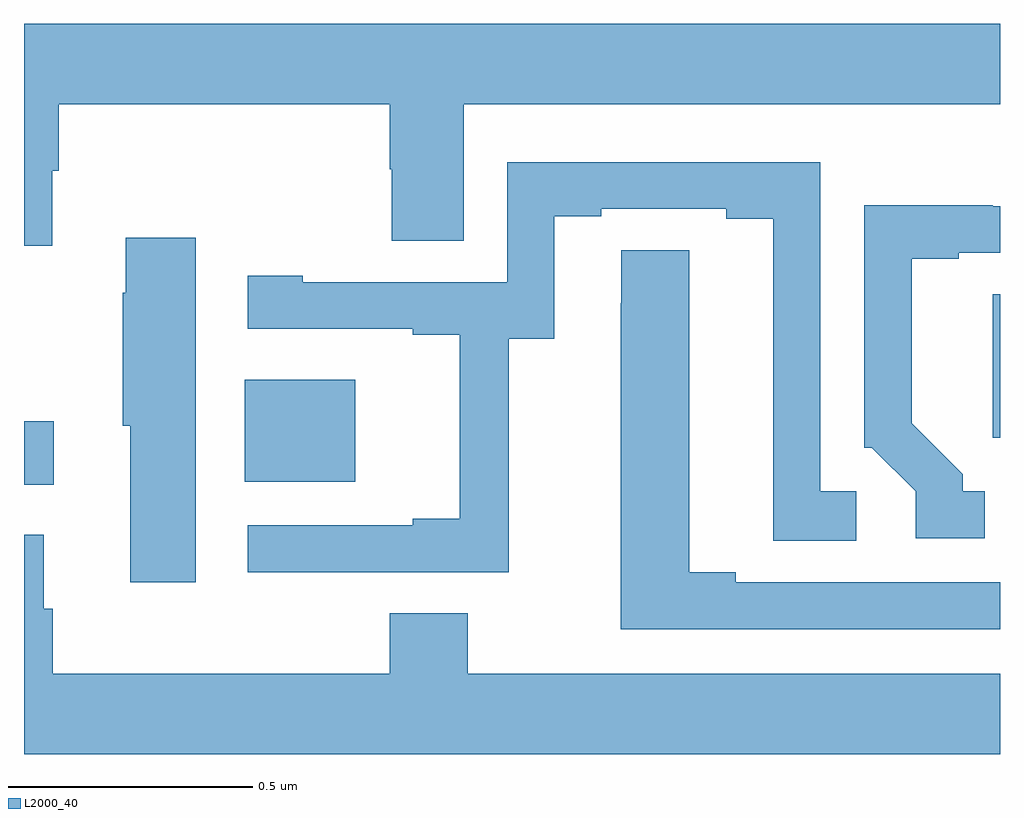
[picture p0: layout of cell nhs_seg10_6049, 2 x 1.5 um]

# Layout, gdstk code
import gdstk
lib = gdstk.Library(unit=1e-6, precision=1e-09)
def R(c, l, rs):  # rectangles x0, y0, x1, y1
    for r in rs: c.add(gdstk.rectangle(r[:2], r[2:], *l))
def P(c, l, *ps):  # polygons
    for p in ps: c.add(gdstk.Polygon(p, *l))
L2000_40 = (2000, 40)

nhs_seg10_6049 = lib.new_cell('nhs_seg10_6049')
R(nhs_seg10_6049, L2000_40, [(186,1307.528,186.061,1307.658), (186.452,1307.534,186.679,1307.743), (187.985,1307.624,188,1307.918)])
P(nhs_seg10_6049, L2000_40, [(186.058,1308.171),(186.071,1308.171),(186.071,1308.308),(186.749,1308.308),(186.749,1308.174),(186.754,1308.174),(186.754,1308.028),(186.901,1308.028),(186.901,1308.308),(188,1308.308),(188,1308.472),(186,1308.472),(186,1308.018),(186.058,1308.018)],
  [(186.993,1307.827),(187.087,1307.827),(187.087,1308.078),(187.183,1308.078),(187.183,1308.093),(187.439,1308.093),(187.439,1308.073),(187.535,1308.073),(187.535,1307.413),(187.705,1307.413),(187.705,1307.514),(187.632,1307.514),(187.632,1308.189),(186.99,1308.189),(186.99,1307.943),(186.571,1307.943),(186.571,1307.956),(186.459,1307.956),(186.459,1307.847),(186.797,1307.847),(186.797,1307.835),(186.893,1307.835),(186.893,1307.458),(186.797,1307.458),(186.797,1307.445),(186.459,1307.445),(186.459,1307.349),(186.993,1307.349)],
  [(187.969,1307.514),(187.924,1307.514),(187.924,1307.549),(187.819,1307.654),(187.819,1307.991),(187.915,1307.991),(187.915,1308.003),(188,1308.003),(188,1308.099),(187.985,1308.099),(187.985,1308.101),(187.722,1308.101),(187.722,1307.604),(187.737,1307.604),(187.827,1307.514),(187.827,1307.418),(187.969,1307.418)],
  [(186.352,1308.034),(186.209,1308.034),(186.209,1307.921),(186.202,1307.921),(186.202,1307.649),(186.218,1307.649),(186.218,1307.328),(186.352,1307.328)],
  [(188,1307.328),(187.459,1307.328),(187.459,1307.348),(187.363,1307.348),(187.363,1308.008),(187.224,1308.008),(187.224,1307.9),(187.223,1307.9),(187.223,1307.232),(188,1307.232)],
  [(188,1307.14),(186.909,1307.14),(186.909,1307.264),(186.749,1307.264),(186.749,1307.14),(186.059,1307.14),(186.059,1307.274),(186.04,1307.274),(186.04,1307.425),(186,1307.425),(186,1306.976),(188,1306.976)])

lib.write_gds('nhs_seg10_6049.gds')
